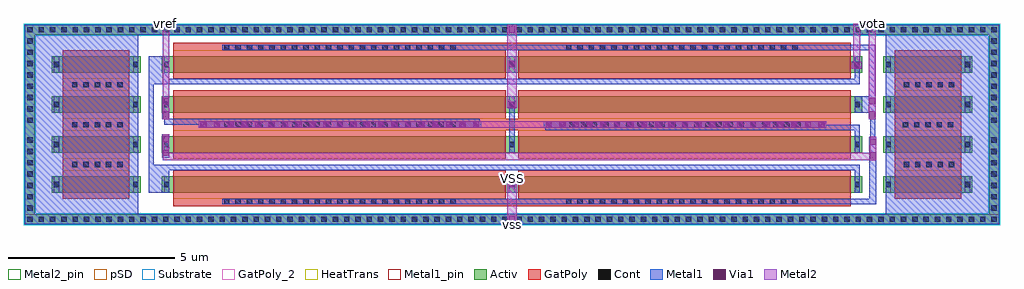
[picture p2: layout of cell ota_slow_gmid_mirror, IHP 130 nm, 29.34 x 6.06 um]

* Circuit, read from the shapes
.subckt ota_slow_gmid_mirror VSS vota vout1 vref
XM1 VSS VSS VSS VSS sg13_lv_nmos w=0.5u l=2u m=8
XM2 VSS vota vout1 VSS sg13_lv_nmos w=0.5u l=10u m=4
XM3 VSS vref vota VSS sg13_lv_nmos w=0.5u l=10u m=2
XM4 VSS vref vref VSS sg13_lv_nmos w=0.5u l=10u m=2
.ends

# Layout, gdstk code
import gdstk
lib = gdstk.Library(unit=1e-6, precision=1e-09)
def R(c, l, rs):  # rectangles x0, y0, x1, y1
    for r in rs: c.add(gdstk.rectangle(r[:2], r[2:], *l))
def A(c, l, x, y, w, h, nx, ny, dx, dy):  # array of equal rectangles
    R(c, l, [(x+i*dx, y+j*dy, x+i*dx+w, y+j*dy+h) for i in range(nx) for j in range(ny)])
def P(c, l, *ps):  # polygons
    for p in ps: c.add(gdstk.Polygon(p, *l))
Activ = (1, 0)
GatPoly = (5, 0)
GatPoly_2 = (5, 2)
Cont = (6, 0)
Metal1 = (8, 0)
Metal1_pin = (8, 2)
Metal2 = (10, 0)
Metal2_pin = (10, 2)
pSD = (14, 0)
Via1 = (19, 0)
Substrate = (40, 0)
HeatTrans = (51, 0)

nmos_1_1 = lib.new_cell('nmos$1$1')
A(nmos_1_1, Activ, 0, 0, 0.3, 0.3, 3, 1, 10.38, 0)
R(nmos_1_1, Activ, [(0,0,21.06,0.5)])
R(nmos_1_1, GatPoly, [(0.34,-0.18,10.34,0.68), (10.72,-0.18,20.72,0.68)])
R(nmos_1_1, GatPoly_2, [(0.34,-0.18,10.34,0.68)])
A(nmos_1_1, Cont, 0.07, 0.17, 0.16, 0.16, 3, 1, 10.38, 0)
A(nmos_1_1, Metal1, 0.07, 0, 0.16, 0.5, 3, 1, 10.38, 0)
R(nmos_1_1, Metal1_pin, [(0.07,0,0.23,0.5), (10.45,0,10.61,0.5)])
R(nmos_1_1, HeatTrans, [(0.34,-0.18,10.34,0.68), (10.72,-0.18,20.72,0.68)])
nmos_1_1.add(gdstk.Label('nmos', (5.34,0.25), layer=63, texttype=0))
nmos_1_1.add(gdstk.Label('nmos', (5.34,0.25), layer=51, texttype=0))
nmos_1_1.add(gdstk.Label('nmos', (15.72,0.25), layer=51, texttype=0))

nmos_2_1 = lib.new_cell('nmos$2$1')
R(nmos_2_1, Activ, [(0,0,0.3,0.3), (0,0,2.68,0.5), (2.38,0,2.68,0.3)])
R(nmos_2_1, GatPoly, [(0.34,-0.18,2.34,0.68)])
R(nmos_2_1, GatPoly_2, [(0.34,-0.18,2.34,0.68)])
R(nmos_2_1, Cont, [(0.07,0.17,0.23,0.33), (2.45,0.17,2.61,0.33)])
R(nmos_2_1, Metal1, [(0.07,0,0.23,0.5), (2.45,0,2.61,0.5)])
R(nmos_2_1, Metal1_pin, [(0.07,0,0.23,0.5), (2.45,0,2.61,0.5)])
R(nmos_2_1, HeatTrans, [(0.34,-0.18,2.34,0.68)])
nmos_2_1.add(gdstk.Label('nmos', (1.34,0.25), layer=63, texttype=0))
nmos_2_1.add(gdstk.Label('nmos', (1.34,0.25), layer=51, texttype=0))

guard_ring_5 = lib.new_cell('guard_ring$5')
R(guard_ring_5, Activ, [(-14.64,-3,14.64,-2.7), (-14.64,-2.7,-14.34,2.7), (14.34,-2.7,14.64,2.7)])
P(guard_ring_5, Activ, [(-14.64,-3),(-14.64,2.7),(-14.34,2.7),(-14.34,-2.7),(14.34,-2.7),(14.34,2.7),(-14.64,2.7),(-14.64,3),(14.64,3),(14.64,-3)])
A(guard_ring_5, Cont, -14.57, -2.93, 0.16, 0.16, 43, 2, 0.34, 5.7)
A(guard_ring_5, Cont, 0.13, -2.93, 0.16, 0.16, 43, 2, 0.34, 5.7)
A(guard_ring_5, Cont, -14.57, -2.59, 0.16, 0.16, 1, 7, 0, 0.34)
A(guard_ring_5, Cont, 14.41, -2.59, 0.16, 0.16, 1, 7, 0, 0.34)
A(guard_ring_5, Cont, -14.57, 0.05, 0.16, 0.16, 1, 8, 0, 0.34)
A(guard_ring_5, Cont, 14.41, 0.05, 0.16, 0.16, 1, 8, 0, 0.34)
R(guard_ring_5, Metal1, [(-14.64,-3,14.64,-2.7), (-14.64,-2.7,-14.34,2.7), (14.34,-2.7,14.64,2.7), (-14.64,2.7,14.64,3)])
R(guard_ring_5, pSD, [(-14.67,-3.03,14.67,-2.67), (-14.67,-2.67,-14.31,2.67), (14.31,-2.67,14.67,2.67)])
P(guard_ring_5, pSD, [(-14.67,-3.03),(-14.67,2.67),(-14.31,2.67),(-14.31,-2.67),(14.31,-2.67),(14.31,2.67),(-14.67,2.67),(-14.67,3.03),(14.67,3.03),(14.67,-3.03)])
R(guard_ring_5, Substrate, [(-14.67,-3.03,14.67,-2.67), (-14.67,-2.67,-14.31,2.67), (14.31,-2.67,14.67,2.67)])
P(guard_ring_5, Substrate, [(-14.67,-3.03),(-14.67,2.67),(-14.31,2.67),(-14.31,-2.67),(14.31,-2.67),(14.31,2.67),(-14.67,2.67),(-14.67,3.03),(14.67,3.03),(14.67,-3.03)])
guard_ring_5.add(gdstk.Label('sub!', (0,-2.85), layer=63, texttype=0))

via_stack_12_1 = lib.new_cell('via_stack$12$1')
R(via_stack_12_1, GatPoly, [(-3.55,-0.15,3.55,0.15)])
A(via_stack_12_1, Cont, -3.48, -0.08, 0.16, 0.16, 21, 1, 0.34, 0)
R(via_stack_12_1, Metal1, [(-4.245,-0.105,4.245,0.105)])
R(via_stack_12_1, Metal2, [(-4.245,-0.1,4.245,0.1)])
A(via_stack_12_1, Via1, -4.195, -0.095, 0.19, 0.19, 21, 1, 0.41, 0)

via_stack_10_1 = lib.new_cell('via_stack$10$1')
R(via_stack_10_1, Metal1, [(-0.105,-0.35,0.105,0.35)])
R(via_stack_10_1, Metal2, [(-0.1,-0.35,0.1,0.35)])
R(via_stack_10_1, Via1, [(-0.095,-0.3,0.095,-0.11), (-0.095,0.11,0.095,0.3)])

via_stack_26 = lib.new_cell('via_stack$26')
R(via_stack_26, GatPoly, [(-0.83,-0.15,0.83,0.15)])
A(via_stack_26, Cont, -0.76, -0.08, 0.16, 0.16, 5, 1, 0.34, 0)
R(via_stack_26, Metal1, [(-0.81,-0.08,0.81,0.08)])

via_stack_18 = lib.new_cell('via_stack$18')
R(via_stack_18, GatPoly, [(-3.55,-0.15,3.55,0.15)])
A(via_stack_18, Cont, -3.48, -0.08, 0.16, 0.16, 21, 1, 0.34, 0)
R(via_stack_18, Metal1, [(-3.53,-0.08,3.53,0.08)])

via_stack_8_1 = lib.new_cell('via_stack$8$1')
R(via_stack_8_1, Metal1, [(-0.145,-0.105,0.145,0.105)])
R(via_stack_8_1, Metal2, [(-0.145,-0.1,0.145,0.1)])
R(via_stack_8_1, Via1, [(-0.095,-0.095,0.095,0.095)])

ota_slow_gmid_mirror = lib.new_cell('ota_slow_gmid_mirror')
A(ota_slow_gmid_mirror, GatPoly, -13.5, -1.37, 2, 0.34, 1, 3, 0, 1.2)
A(ota_slow_gmid_mirror, GatPoly, 11.5, -1.37, 2, 0.34, 1, 3, 0, 1.2)
R(ota_slow_gmid_mirror, GatPoly, [(-10.19,-2.46,10.19,-2.23), (-10.19,-0.17,10.19,0.17), (-10.19,2.23,10.19,2.46)])
R(ota_slow_gmid_mirror, Metal1, [(-14.64,-3,-11.23,3), (11.23,-3,14.64,3), (-2.455,-2.39,10.955,-2.23), (10.745,-2.39,10.955,-0.77), (-10.925,-2.05,-10.765,2.05), (-10.925,-2.05,-10.3,-1.37), (-0.145,-2.05,0.145,-1.55), (10.3,-2.05,10.46,-1.21), (-10.925,-1.37,10.46,-1.21), (10.765,-1.03,10.925,0.85), (-0.08,-0.85,0.08,0.85), (10.3,-0.44,10.46,0), (0.995,-0.17,10.46,0), (-10.46,0,-10.3,0.44), (-10.46,0,-0.965,0.17), (10.3,0.35,10.925,0.85), (10.725,0.83,10.925,2.39), (-10.925,1.21,10.46,1.37), (10.3,1.21,10.46,2.05), (-10.925,1.37,-10.3,2.05), (-0.145,1.55,0.145,2.05), (-2.455,2.23,10.925,2.39)])
R(ota_slow_gmid_mirror, Metal1_pin, [(-14.64,-3,14.64,-2.7)])
R(ota_slow_gmid_mirror, Metal2, [(-0.145,-2.94,0.145,-1.685), (-10.505,-1.075,10.95,-0.85), (-1.075,-0.1,1.385,0.1), (-0.145,0.495,0.145,3), (-10.505,0.555,-10.305,3.03), (10.73,0.555,10.93,3.03), (10.265,1.765,10.465,3.03)])
R(ota_slow_gmid_mirror, Metal2_pin, [(10.265,2.715,10.465,3.03), (-10.505,2.77,-10.305,3.03), (10.73,2.775,10.93,3.03)])
r = gdstk.Reference(nmos_1_1, (-10.53,-2.05)); r.repetition = gdstk.Repetition(1, 4, v1=(0,0), v2=(0,1.2)); ota_slow_gmid_mirror.add(r)
r = gdstk.Reference(nmos_2_1, (-13.84,-2.05)); r.repetition = gdstk.Repetition(2, 4, v1=(25,0), v2=(0,1.2)); ota_slow_gmid_mirror.add(r)
ota_slow_gmid_mirror.add(gdstk.Reference(guard_ring_5, (0,0)))
ota_slow_gmid_mirror.add(gdstk.Reference(via_stack_12_1, (-5.175,0)))
ota_slow_gmid_mirror.add(gdstk.Reference(via_stack_10_1, (10.85,-0.725)))
ota_slow_gmid_mirror.add(gdstk.Reference(via_stack_10_1, (-10.405,-0.645)))
ota_slow_gmid_mirror.add(gdstk.Reference(via_stack_26, (-12.465,-0.005)))
ota_slow_gmid_mirror.add(gdstk.Reference(via_stack_26, (12.505,-0.005)))
ota_slow_gmid_mirror.add(gdstk.Reference(via_stack_10_1, (-10.405,0.505)))
ota_slow_gmid_mirror.add(gdstk.Reference(via_stack_10_1, (10.83,0.505)))
ota_slow_gmid_mirror.add(gdstk.Reference(via_stack_26, (-12.465,1.195)))
ota_slow_gmid_mirror.add(gdstk.Reference(via_stack_26, (-12.465,-1.205)))
ota_slow_gmid_mirror.add(gdstk.Reference(via_stack_26, (12.535,-1.205)))
ota_slow_gmid_mirror.add(gdstk.Reference(via_stack_26, (12.535,1.195)))
ota_slow_gmid_mirror.add(gdstk.Reference(via_stack_12_1, (5.205,0)))
ota_slow_gmid_mirror.add(gdstk.Reference(via_stack_18, (-5.175,2.31)))
ota_slow_gmid_mirror.add(gdstk.Reference(via_stack_18, (5.105,2.31)))
ota_slow_gmid_mirror.add(gdstk.Reference(via_stack_18, (-5.175,-2.31), x_reflection=True))
ota_slow_gmid_mirror.add(gdstk.Reference(via_stack_18, (5.105,-2.31), x_reflection=True))
ota_slow_gmid_mirror.add(gdstk.Reference(via_stack_8_1, (0,0.595)))
ota_slow_gmid_mirror.add(gdstk.Reference(via_stack_8_1, (0,1.815)))
ota_slow_gmid_mirror.add(gdstk.Reference(via_stack_8_1, (0,2.86)))
ota_slow_gmid_mirror.add(gdstk.Reference(via_stack_8_1, (0,-1.785)))
ota_slow_gmid_mirror.add(gdstk.Reference(via_stack_8_1, (0,-2.845)))
ota_slow_gmid_mirror.add(gdstk.Reference(via_stack_8_1, (10.365,1.775)))
ota_slow_gmid_mirror.add(gdstk.Label('vss', (0,-3), layer=8, texttype=2))
ota_slow_gmid_mirror.add(gdstk.Label('VSS', (0,-1.63), layer=8, texttype=2))
ota_slow_gmid_mirror.add(gdstk.Label('vota', (10.83,3.03), layer=10, texttype=2))
ota_slow_gmid_mirror.add(gdstk.Label('vref', (-10.405,3.03), layer=10, texttype=2))
ota_slow_gmid_mirror.add(gdstk.Label('vout1', (10.365,3.03), layer=10, texttype=2))

lib.write_gds('ota_slow_gmid_mirror.gds')
